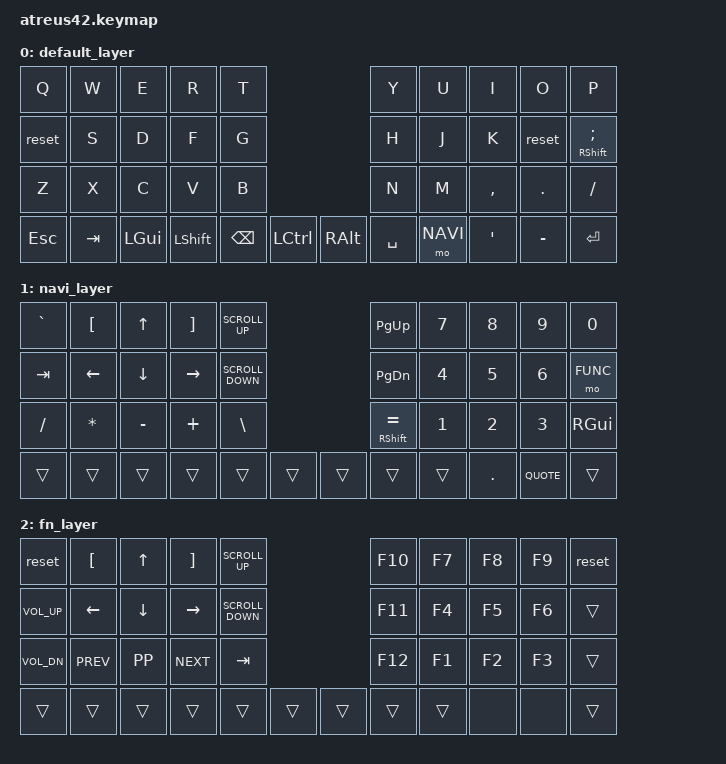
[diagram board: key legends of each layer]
#include <behaviors.dtsi>
#include <dt-bindings/zmk/keys.h>
#include <dt-bindings/zmk/bt.h>

#define DEFAULT 0
#define NAVI    1
#define FUNC    2

/ {
    keymap {
      compatible = "zmk,keymap";

      default_layer {
// --------------------------------------------------------------------------------------------------------------------------------------------------------------------
// |     Q    |     W    |     E    |     R    |     T    |                     |     Y    |    U     |     I    |     O    |     P    |
// |     A    |     S    |     D    |     F    |     G    |                     |     H    |    J     |     K    |     L    | (;)SHIFT |
// |     Z    |     X    |     C    |     V    |     B    |                     |     N    |    M     |     ,    |     .    |     /    |
// |    ESC   |    TAB   |   SUPER  |  SHIFT   |  BKSPC   |    CTL   |    ALT   |   SPACE  |   LAY1   |     '    |     -    |    ENT   |
        bindings = <
    &kp Q      &kp W      &kp E      &kp R      &kp T                           &kp Y      &kp U      &kp I      &kp O      &kp P
    &reset     &kp S      &kp D      &kp F      &kp G                           &kp H      &kp J      &kp K      &reset     &mt RSHFT SEMI
    &kp Z      &kp X      &kp C      &kp V      &kp B                           &kp N      &kp M      &kp COMMA  &kp DOT    &kp FSLH
    &kp ESC    &kp TAB    &kp LGUI   &kp LSHFT  &kp BSPC   &kp LCTRL  &kp RALT  &kp SPACE  &mo NAVI   &kp SQT    &kp MINUS  &kp RET
        >;
      };

      navi_layer {
// --------------------------------------------------------------------------------------------------------------------------------------------------------------------
// |     `    |    [     |    UP    |     ]    | SCROLL_UP|                     |  PG_UP   |    7     |     8    |     9    |     0    |
// |    TAB   |   LEFT   |   DOWN   |   RIGHT  | SCROLL_DN|                     |  PG_DN   |    4     |     5    |     6    |   LAY2   |
// |     /    |     *    |     -    |     +    |    \     |                     | (=)SHIFT |    1     |     2    |     3    |   SUPER  |
// |__________|__________|__________|__________|__________|__________|__________|__________|__________|     .    |    DEL   |    ENT   |
        bindings = <
  &kp GRAVE    &kp LBKT   &kp UP     &kp RBKT   &kp K_SCROLL_UP                 &kp PG_UP  &kp N7     &kp N8     &kp N9     &kp N0
  &kp TAB      &kp LEFT   &kp DOWN   &kp RIGHT  &kp K_SCROLL_DOWN               &kp PG_DN  &kp N4     &kp N5     &kp N6     &mo FUNC
  &kp FSLH     &kp STAR   &kp MINUS  &kp PLUS   &kp BSLH                   &mt RSHFT EQUAL &kp N1     &kp N2     &kp N3     &kp RGUI
  &trans       &trans     &trans     &trans     &trans     &trans     &trans    &trans     &trans     &kp DOT    &kp QUOTE  &trans
        >;
      };

      fn_layer {
// --------------------------------------------------------------------------------------------------------------------------------------------------------------------
// |  RESET   |   HOME   |    UP    |    END   |  VOL_UP  |                     |   F10    |    F7    |    F8    |    F9    |          |
// |          |   LEFT   |   DOWN   |   RIGHT  |  VOL_DN  |                     |   F11    |    F4    |    F5    |    F6    |          |
// |          |   PREV   |PLAY/PAUSE|   NEXT   |   TAB    |                     |   F12    |    F1    |    F2    |    F3    |          |
// |__________|__________|__________|__________|   DEL    |__________|__________|__________|__________|          |          |   ENT    |
        bindings = <
  &reset       &kp LBKT   &kp UP     &kp RBKT   &kp K_SCROLL_UP                 &kp F10    &kp F7     &kp F8     &kp F9     &reset
  &kp K_VOL_UP &kp LEFT   &kp DOWN   &kp RIGHT  &kp K_SCROLL_DOWN               &kp F11    &kp F4     &kp F5     &kp F6     &trans
  &kp K_VOL_DN &kp K_PREV &kp K_PP   &kp K_NEXT &kp TAB                         &kp F12    &kp F1     &kp F2     &kp F3     &trans
  &trans       &trans     &trans     &trans     &trans     &trans     &trans    &trans     &trans     &none      &none      &trans
        >;
      };

    };
};

